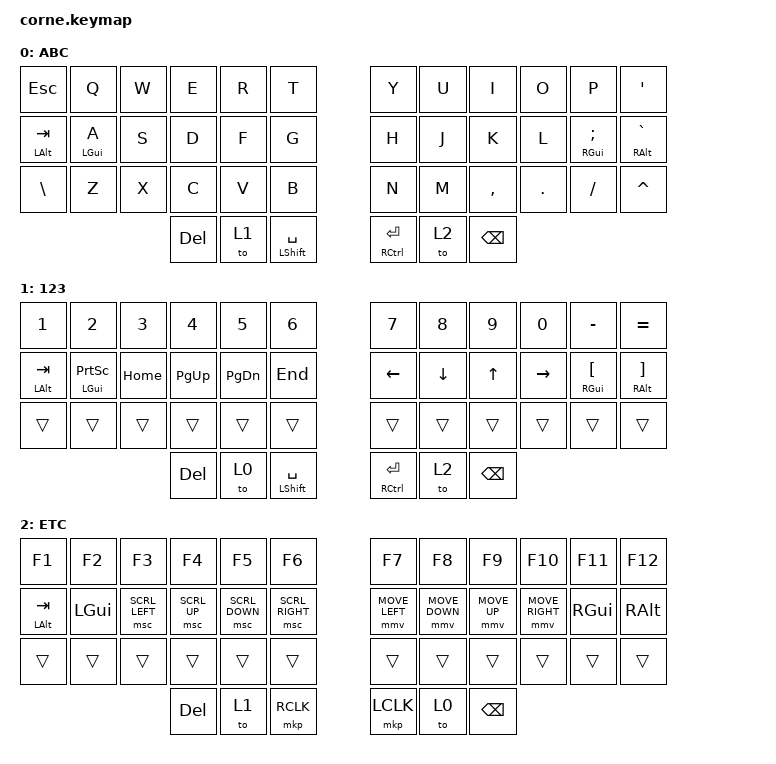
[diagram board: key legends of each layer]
/*
 * Copyright (c) 2020 The ZMK Contributors
 *
 * SPDX-License-Identifier: MIT
 */

#include <dt-bindings/led/led.h>
#include <dt-bindings/zmk/reset.h>
#include <behaviors.dtsi>
#include <dt-bindings/zmk/keys.h>
#include <dt-bindings/zmk/pointing.h>

&led_strip { chain-length = <27>; };

/ {
    keymap {
        compatible = "zmk,keymap";

        layer0 {
            display-name = "ABC";
            bindings = <
&kp ESCAPE        &kp Q       &kp W  &kp E       &kp R  &kp T                   &kp Y          &kp U  &kp I          &kp O    &kp P          &kp SINGLE_QUOTE
&mt LEFT_ALT TAB  &mt LGUI A  &kp S  &kp D       &kp F  &kp G                   &kp H          &kp J  &kp K          &kp L    &mt RGUI SEMI  &mt RIGHT_ALT GRAVE
&kp BACKSLASH     &kp Z       &kp X  &kp C       &kp V  &kp B                   &kp N          &kp M  &kp COMMA      &kp DOT  &kp FSLH       &kp CARET
                                     &kp DELETE  &to 1  &mt LEFT_SHIFT SPACE    &mt RCTRL RET  &to 2  &kp BACKSPACE
            >;
        };

        layer1 {
            display-name = "123";
            bindings = <
&kp NUMBER_1      &kp NUMBER_2          &kp NUMBER_3  &kp NUMBER_4  &kp N5         &kp NUMBER_6            &kp N7            &kp N8    &kp N9         &kp N0     &kp MINUS              &kp EQUAL
&mt LEFT_ALT TAB  &mt LGUI PRINTSCREEN  &kp HOME      &kp PAGE_UP   &kp PAGE_DOWN  &kp END                 &kp LEFT          &kp DOWN  &kp UP         &kp RIGHT  &mt RGUI LEFT_BRACKET  &mt RIGHT_ALT RIGHT_BRACKET
&trans            &trans                &trans        &trans        &trans         &trans                  &trans            &trans    &trans         &trans     &trans                 &trans
                                                      &kp DEL       &to 0          &mt LEFT_SHIFT SPACE    &mt RCTRL RETURN  &to 2     &kp BACKSPACE
            >;
        };

        layer2 {
            display-name = "ETC";
            bindings = <
&kp F1            &kp F2    &kp F3          &kp F4        &kp F5          &kp F6             &kp F7          &kp F8          &kp F9         &kp F10          &kp F11   &kp F12
&mt LEFT_ALT TAB  &kp LGUI  &msc SCRL_LEFT  &msc SCRL_UP  &msc SCRL_DOWN  &msc SCRL_RIGHT    &mmv MOVE_LEFT  &mmv MOVE_DOWN  &mmv MOVE_UP   &mmv MOVE_RIGHT  &kp RGUI  &kp RIGHT_ALT
&trans            &trans    &trans          &trans        &trans          &trans             &trans          &trans          &trans         &trans           &trans    &trans
                                            &kp DEL       &to 1           &mkp RCLK          &mkp LCLK       &to 0           &kp BACKSPACE
            >;
        };
    };
};
